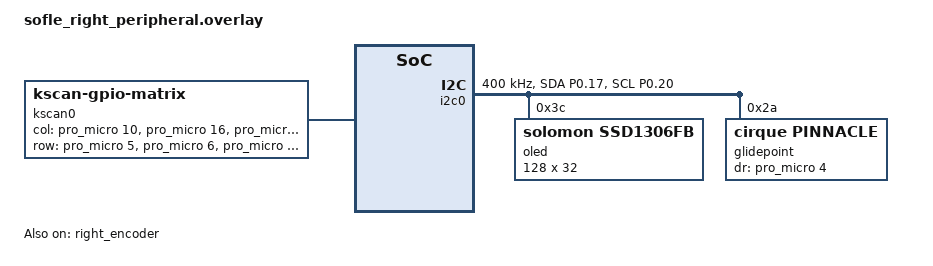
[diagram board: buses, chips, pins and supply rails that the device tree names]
#include "sofle.dtsi"
#include "split_inputs.dtsi"

&pinctrl {
    i2c0_default: i2c0_default {
        group1 {
            psels = <NRF_PSEL(TWIM_SDA, 0, 17)>,
                <NRF_PSEL(TWIM_SCL, 0, 20)>;
			bias-pull-up;
        };
    };

    i2c0_sleep: i2c0_sleep {
        group1 {
            psels = <NRF_PSEL(TWIM_SDA, 0, 17)>,
                <NRF_PSEL(TWIM_SCL, 0, 20)>;
            low-power-enable;
			bias-pull-up;
        };
    };
};

cirque_pinnacle_i2c: &i2c0 {
    compatible = "nordic,nrf-twim";
    pinctrl-0 = <&i2c0_default>;
    pinctrl-1 = <&i2c0_sleep>;
    pinctrl-names = "default", "sleep";
    clock-frequency = <I2C_BITRATE_FAST>;
};

&gpio4 {
    status = "okay";
};

&default_transform {
    col-offset = <6>;
};



/ {
    chosen {
        zmk,kscan = &kscan0;
    };

	kscan0: kscan {
		compatible = "zmk,kscan-gpio-matrix";
        wakeup-source;
        diode-direction = "col2row";
		col-gpios
            = <&pro_micro 10 GPIO_ACTIVE_HIGH>
            , <&pro_micro 16 GPIO_ACTIVE_HIGH>
            , <&pro_micro 14 GPIO_ACTIVE_HIGH>
            , <&pro_micro 15 GPIO_ACTIVE_HIGH>
            , <&pro_micro 18 GPIO_ACTIVE_HIGH>
            , <&pro_micro 19 GPIO_ACTIVE_HIGH>
		    ;
		row-gpios
            = <&pro_micro 5 (GPIO_ACTIVE_HIGH | GPIO_PULL_DOWN)>
            , <&pro_micro 6 (GPIO_ACTIVE_HIGH | GPIO_PULL_DOWN)>
            , <&pro_micro 7 (GPIO_ACTIVE_HIGH | GPIO_PULL_DOWN)>
            , <&pro_micro 8 (GPIO_ACTIVE_HIGH | GPIO_PULL_DOWN)>
            , <&pro_micro 9 (GPIO_ACTIVE_HIGH | GPIO_PULL_DOWN)>
            ;
	};
};

&cirque_pinnacle_i2c {
    status = "okay";

    oled: ssd1306@3c {
        compatible = "solomon,ssd1306fb";
        reg = <0x3c>;
        width = <128>;
        height = <32>;
        segment-offset = <0>;
        page-offset = <0>;
        display-offset = <0>;
        multiplex-ratio = <31>;
        segment-remap;
        com-invdir;
        com-sequential;
        inversion-on;
        prechargep = <0x22>;
    };

    glidepoint: glidepoint@2a {
        compatible = "cirque,pinnacle";
        reg = <0x2a>;
        status = "okay";
        dr-gpios = <&pro_micro 4 (GPIO_ACTIVE_HIGH)>;

        sensitivity = "1x"; //1x, 2x, 3x, 4x
        //rotate-90;
        //x-invert;
        //y-invert;
        //sleep;
        //no-secondary-tap;
        no-taps;
        //x-axis-z-min = 5; //default 5, malformed value error
        //y-axis-z-min = 4; // default 4, malformed value error
    };

};

// Overrides for the input-split child node
&glidepoint_split {
    device = <&glidepoint>;
    // Optional
    // input-processors = <&zip_xy_transform (INPUT_TRANSFORM_XY_SWAP | INPUT_TRANSFORM_X_INVERT | INPUT_TRANSFORM_Y_INVERT)>;
};

&right_encoder {
    status = "okay";
};
